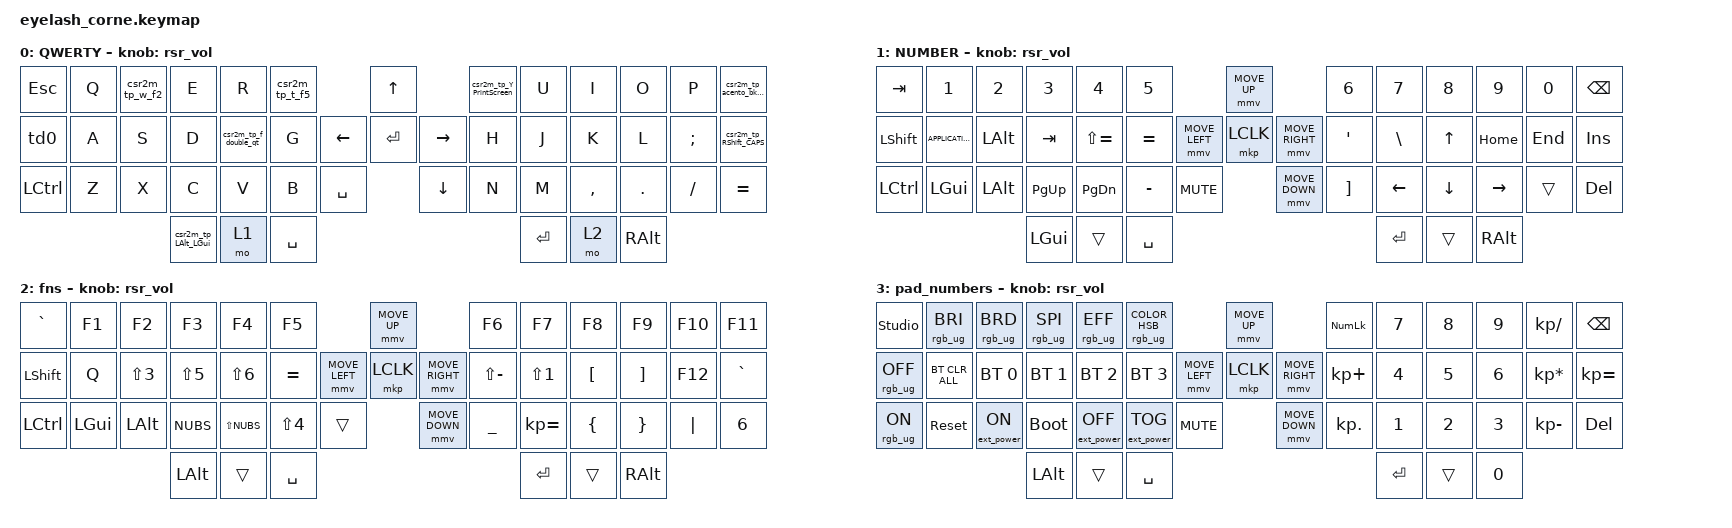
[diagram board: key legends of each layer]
#define ZMK_POINTING_DEFAULT_MOVE_VAL 1200
#define ZMK_POINTING_DEFAULT_SCRL_VAL 25

#include <input/processors.dtsi>
#include <zephyr/dt-bindings/input/input-event-codes.h>
#include <behaviors/runtime-sensor-rotate.dtsi>
#include <behaviors.dtsi>
#include <dt-bindings/zmk/bt.h>
#include <dt-bindings/zmk/ext_power.h>
#include <dt-bindings/zmk/keys.h>
#include <dt-bindings/zmk/pointing.h>
#include <dt-bindings/zmk/rgb.h>

&mmv_input_listener { input-processors = <&zip_xy_scaler 2 1>; };
&msc_input_listener { input-processors = <&zip_scroll_scaler 2 1>; };

&msc {
    acceleration-exponent = <1>;
    time-to-max-speed-ms = <100>;
    delay-ms = <0>;
};

&mmv {
    time-to-max-speed-ms = <500>;
    acceleration-exponent = <1>;
    trigger-period-ms = <16>;
};

&soft_off { hold-time-ms = <2000>; };

/ {
    behaviors {
        td0: td0 {
            compatible = "zmk,behavior-tap-dance";
            display-name = "Shift/Caps Lock Tap Dance";
            #binding-cells = <0>;
            bindings = <&kp LEFT_SHIFT>, <&kp CAPS>;
        };

        rgb_encoder: rgb_encoder {
            compatible = "zmk,behavior-sensor-rotate";
            #sensor-binding-cells = <0>;
            bindings = <&rgb_ug RGB_BRI>, <&rgb_ug RGB_BRD>;
        };

        scroll_encoder: scroll_encoder {
            compatible = "zmk,behavior-sensor-rotate";
            #sensor-binding-cells = <0>;
            bindings = <&msc SCRL_DOWN>, <&msc SCRL_UP>;
            tap-ms = <100>;
        };

        rsr_vol: rsr_vol {
            compatible = "zmk,behavior-runtime-sensor-rotate";
            #sensor-binding-cells = <0>;
            tap-ms = <5>;
            cw-binding = <&kp C_VOL_UP>;
            ccw-binding = <&kp C_VOL_DN>;
        };

        csr2m_tp_f_double_qt: csr2m_tp_f_double_qt {
            compatible = "zmk,behavior-tap-dance";
            label = "CSR2M_TP_F_DOUBLE_QT";
            #binding-cells = <0>;
            bindings = <&kp F>, <&kp RS(NUMBER_2)>;
            tapping-term-ms = <150>;
        };

        csr2m_tp_w_f2: csr2m_tp_w_f2 {
            compatible = "zmk,behavior-tap-dance";
            label = "CSR2M_TP_W_F2";
            #binding-cells = <0>;
            bindings = <&kp W>, <&kp F2>;
        };

        csr2m_tp_LAlt_LGui: csr2m_tp_LAlt_LGui {
            compatible = "zmk,behavior-tap-dance";
            label = "CSR2M_TP_LALT_LGUI";
            #binding-cells = <0>;
            bindings = <&kp LEFT_ALT>, <&kp LGUI>;
        };

        csr2m_tp_t_f5: csr2m_tp_t_f5 {
            compatible = "zmk,behavior-tap-dance";
            label = "CSR2M_TP_T_F5";
            #binding-cells = <0>;
            bindings = <&kp T>, <&kp F5>;
            tapping-term-ms = <150>;
        };

        csr2m_tp_Y_PrintScreen: csr2m_tp_Y_PrintScreen {
            compatible = "zmk,behavior-tap-dance";
            label = "CSR2M_TP_Y_PRINTSCREEN";
            #binding-cells = <0>;
            bindings = <&kp Y>, <&kp PRINTSCREEN>;
            tapping-term-ms = <150>;
        };

        csr2m_tp_RShift_CAPS: csr2m_tp_RShift_CAPS {
            compatible = "zmk,behavior-tap-dance";
            label = "CSR2M_TP_RSHIFT_CAPS";
            #binding-cells = <0>;
            bindings = <&kp RIGHT_SHIFT>, <&kp CAPS>;
        };

        csr2m_tp_acento_bksp: csr2m_tp_acento_bksp {
            compatible = "zmk,behavior-tap-dance";
            label = "CSR2M_TP_ACENTO_BKSP";
            #binding-cells = <0>;
            bindings = <&kp LEFT_BRACKET>, <&kp BACKSPACE>;
        };
    };

    combos {
        compatible = "zmk,combos";
        softoff {
            bindings = <&soft_off>;
            key-positions = <1 15 29>;
            slow-release;
            layers = <0>;
            timeout-ms = <200>;
        };
    };

    keymap {
        compatible = "zmk,keymap";

        default_layer {
            display-name = "QWERTY";
            bindings = <
&kp ESCAPE  &kp Q  &csr2m_tp_w_f2  &kp E                &kp R                &csr2m_tp_t_f5                                         &kp UP                &csr2m_tp_Y_PrintScreen  &kp U  &kp I      &kp O    &kp P     &csr2m_tp_acento_bksp
&td0        &kp A  &kp S           &kp D                &csr2m_tp_f_double_qt  &kp G                                &kp LEFT  &kp ENTER  &kp RIGHT  &kp H                    &kp J  &kp K      &kp L    &kp SEMI  &csr2m_tp_RShift_CAPS
&kp LCTRL   &kp Z  &kp X           &kp C                &kp V                &kp B               &kp SPACE                  &kp DOWN              &kp N                    &kp M  &kp COMMA  &kp DOT  &kp FSLH  &kp EQUAL
                                   &csr2m_tp_LAlt_LGui  &mo 1                &kp SPACE                                                                                     &kp ENTER                &mo 2  &kp RALT
            >;

            sensor-bindings = <&rsr_vol>;
        };

        lower_layer {
            display-name = "NUMBER";
            bindings = <
&kp TAB         &kp N1             &kp N2        &kp N3        &kp N4         &kp N5                                                   &mmv MOVE_UP                     &kp N6             &kp N7    &kp N8         &kp N9     &kp N0   &kp BSPC
&kp LEFT_SHIFT  &kp K_APPLICATION  &kp LEFT_ALT  &kp TAB       &kp LS(EQUAL)  &kp EQUAL                                &mmv MOVE_LEFT  &mkp LCLK       &mmv MOVE_RIGHT  &kp APOSTROPHE     &kp BSLH  &kp UP         &kp HOME   &kp END  &kp INSERT
&kp LCTRL       &kp LEFT_GUI       &kp LEFT_ALT  &kp PAGE_UP   &kp PAGE_DOWN  &kp MINUS  &kp C_MUTE                                    &mmv MOVE_DOWN                   &kp RIGHT_BRACKET  &kp LEFT  &kp DOWN       &kp RIGHT  &trans   &kp DEL
                                                 &kp LEFT_GUI  &trans         &kp SPACE                                                                                 &kp ENTER                    &trans    &kp RIGHT_ALT
            >;

            sensor-bindings = <&rsr_vol>;
        };

        raise_layer {
            display-name = "fns";
            bindings = <
&kp GRAVE  &kp F1        &kp F2            &kp F3        &kp F4            &kp F5                                                   &mmv MOVE_UP                     &kp F6         &kp F7            &kp F8         &kp F9    &kp F10   &kp F11
&kp LSHFT  &kp Q         &kp LS(NUMBER_3)  &kp LS(N5)    &kp LS(NUMBER_6)  &kp EQUAL                                &mmv MOVE_LEFT  &mkp LCLK       &mmv MOVE_RIGHT  &kp LS(MINUS)  &kp LS(NUMBER_1)  &kp LBKT       &kp RBKT  &kp F12   &kp GRAVE
&kp LCTRL  &kp LEFT_GUI  &kp LEFT_ALT      &kp NUBS      &kp LS(NUBS)      &kp LS(NUMBER_4)  &trans                                 &mmv MOVE_DOWN                   &kp UNDER      &kp KP_EQUAL      &kp LBRC       &kp RBRC  &kp PIPE  &kp NUMBER_6
                                           &kp LEFT_ALT  &trans            &kp SPACE                                                                                 &kp RET        &trans            &kp RIGHT_ALT
            >;

            sensor-bindings = <&rsr_vol>;
        };

        layer_3 {
            display-name = "pad_numbers";
            bindings = <
&studio_unlock  &rgb_ug RGB_BRI  &rgb_ug RGB_BRD   &rgb_ug RGB_SPI  &rgb_ug RGB_EFF    &rgb_ug RGB_COLOR_HSB(195,93,54)                                 &mmv MOVE_UP                     &kp KP_NUMLOCK  &kp N7  &kp N8  &kp N9  &kp KP_SLASH     &kp BACKSPACE
&rgb_ug RGB_OFF  &bt BT_CLR_ALL   &bt BT_SEL 0      &bt BT_SEL 1     &bt BT_SEL 2       &bt BT_SEL 3                                     &mmv MOVE_LEFT  &mkp LCLK       &mmv MOVE_RIGHT  &kp KP_PLUS     &kp N4  &kp N5  &kp N6  &kp KP_MULTIPLY  &kp KP_EQUAL
&rgb_ug RGB_ON   &sys_reset       &ext_power EP_ON  &bootloader      &ext_power EP_OFF  &ext_power EP_TOG                &kp C_MUTE                      &mmv MOVE_DOWN                   &kp KP_DOT      &kp N1  &kp N2  &kp N3  &kp KP_MINUS     &kp DEL
                                                    &kp LEFT_ALT     &trans             &kp SPACE                                                                                        &kp ENTER       &trans  &kp N0
            >;

            sensor-bindings = <&rsr_vol>;
        };
    };

    conditional_layers {
        compatible = "zmk,conditional-layers";
        numbers {
            if-layers = <1 2>;
            then-layer = <3>;
        };
    };
};
